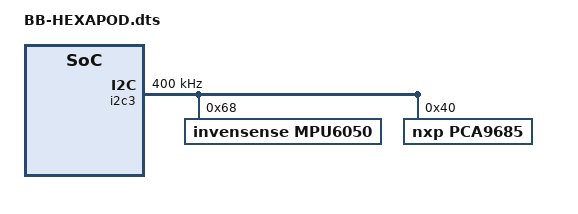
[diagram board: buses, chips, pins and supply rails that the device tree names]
/dts-v1/;
/plugin/;

/* Device Tree Overlay for Hexapod Robot */
&{/chosen} {
    overlays {
        BB-HEXAPOD = __TIMESTAMP__;
    };
};

/* Enable I2C3 */
&i2c3 {
    status = "okay";
    clock-frequency = <400000>;

    /* MPU6050 IMU Sensor */
    mpu6050: mpu6050@68 {
        compatible = "invensense,mpu6050";
        reg = <0x68>;
        status = "okay";
    };

    /* PCA9685 PWM Controller */
    pca9685: pca9685@40 {
        compatible = "nxp,pca9685";
        reg = <0x40>;
        #pwm-cells = <2>;
        status = "okay";
    };
};

/* Hexapod platform device */
/ {
    hexapod {
        compatible = "hexapod,robot";
        status = "okay";
    };
};
